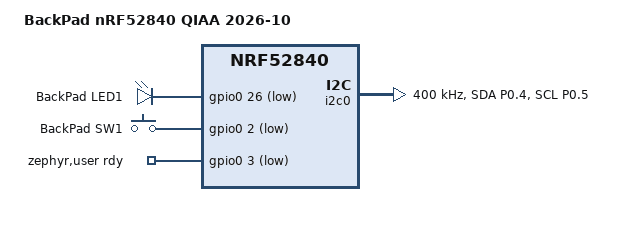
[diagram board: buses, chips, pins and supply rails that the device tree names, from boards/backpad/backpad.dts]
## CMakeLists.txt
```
cmake_minimum_required(VERSION 3.20.0)
list(APPEND BOARD_ROOT ${CMAKE_CURRENT_SOURCE_DIR})
find_package(Zephyr REQUIRED HINTS $ENV{ZEPHYR_BASE})
project(backpad_test LANGUAGES C)
# Vendor-generated settings are deliberately not redistributed.
if(NOT EXISTS "${BACKPAD_SENSOR_SETTINGS}")
  message(FATAL_ERROR "Set BACKPAD_SENSOR_SETTINGS to your authorized IQS9151 settings C file")
endif()
if(NOT EXISTS "${BACKPAD_GENERATED_INCLUDE}/build_id.h")
  message(FATAL_ERROR "Use tools/build_firmware.ps1 to generate the public-source build ID")
endif()
set(BP_SENSOR ${CMAKE_CURRENT_SOURCE_DIR}/../sensor9151)
target_sources(app PRIVATE src/main.c src/bp_status.c src/bp_sensor_service.c src/bp_touch_policy.c vendor/v5/src/bp_pointer.c vendor/v5/src/bp_hid.c vendor/v5/src/bp_channel.c
 ${BP_SENSOR}/src/bp_iqs9151.c ${BACKPAD_SENSOR_SETTINGS} ${BP_SENSOR}/src/bp_iqs9151_zephyr.c)
target_include_directories(app PRIVATE ${BACKPAD_GENERATED_INCLUDE} include vendor/v5/include ${BP_SENSOR}/include)
# BackPad V2 touchpad: 13 Rx columns x 12 Tx rows at 4.5 mm -> 54.0 x 49.5 mm between end electrode centres
# IQS9151 V2 pad. Secondary 20 %: bp_touch_policy only forwards contacts with area >= 4 and density >= 850,
# so the IQS550 50 % ghost floor would only drop real unequal-pressure fingers (18385/15 + 8000/8 = 44 %).
target_compile_definitions(app PRIVATE BP_PHYSICAL_X_UM=54000 BP_PHYSICAL_Y_UM=49500 BP_SECONDARY_RELATIVE_PERCENT=20)
```

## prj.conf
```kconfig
CONFIG_BT=y
CONFIG_BT_PERIPHERAL=y
CONFIG_BT_MAX_CONN=1
CONFIG_BT_MAX_PAIRED=2
CONFIG_BT_DEVICE_NAME="BackPad"
CONFIG_BT_DEVICE_APPEARANCE=962
CONFIG_BT_SMP=y
CONFIG_BT_BONDABLE=y
CONFIG_BT_SETTINGS=y
CONFIG_BT_GATT_AUTO_SEC_REQ=n
CONFIG_BT_AUTO_PHY_UPDATE=n
# Three HID notifications plus two ATT entries for control/service traffic.
CONFIG_BT_ATT_TX_COUNT=5
CONFIG_BT_GAP_PERIPHERAL_PREF_PARAMS=y
# 15 ms fixed (Apple accessory guideline: Interval Min == Interval Max == 15 ms is the allowed exception to
# Min + 15 ms <= Max). With 9..24 macOS chose 30 ms: ~30 cursor reports/s against ~150 sensor frames/s.
CONFIG_BT_PERIPHERAL_PREF_MIN_INT=12
CONFIG_BT_PERIPHERAL_PREF_MAX_INT=12
CONFIG_BT_PERIPHERAL_PREF_LATENCY=0
CONFIG_BT_PERIPHERAL_PREF_TIMEOUT=600
CONFIG_BT_GAP_AUTO_UPDATE_CONN_PARAMS=y
CONFIG_BT_HIDS=y
CONFIG_BT_HIDS_INPUT_REP_MAX=1
CONFIG_BT_HIDS_OUTPUT_REP_MAX=0
CONFIG_BT_HIDS_FEATURE_REP_MAX=0
CONFIG_BT_HIDS_ATTR_MAX=20
CONFIG_BT_HIDS_MAX_CLIENT_COUNT=1
CONFIG_BT_HIDS_DEFAULT_PERM_RW_ENCRYPT=y
CONFIG_BT_GATT_UUID16_POOL_SIZE=40
CONFIG_BT_GATT_CHRC_POOL_SIZE=20
CONFIG_BT_CONN_CTX=y
CONFIG_BT_TX_PROCESSOR_STACK_SIZE=1024
CONFIG_MAIN_STACK_SIZE=4096
CONFIG_SYSTEM_WORKQUEUE_STACK_SIZE=2048
CONFIG_BUILD_OUTPUT_HEX=y
CONFIG_BUILD_OUTPUT_BIN=y
CONFIG_ASSERT=y

CONFIG_SERIAL=n
CONFIG_CONSOLE=y
CONFIG_UART_CONSOLE=n
CONFIG_USE_SEGGER_RTT=y
CONFIG_RTT_CONSOLE=y
CONFIG_SEGGER_RTT_MODE_NO_BLOCK_SKIP=y
CONFIG_SEGGER_RTT_BUFFER_SIZE_UP=2048
CONFIG_PRINTK=y
CONFIG_I2C=y
CONFIG_CLOCK_CONTROL_NRF_K32SRC_RC=y
CONFIG_CLOCK_CONTROL_NRF_K32SRC_500PPM=y
CONFIG_CLOCK_CONTROL_NRF_K32SRC_RC_CALIBRATION=y
CONFIG_NRF_APPROTECT_USE_UICR=y
CONFIG_FLASH=y
CONFIG_LOG=n
CONFIG_I2C_NRFX_TRANSFER_TIMEOUT=100

# User-requested default radio TX power for advertising and connections.
CONFIG_BT_CTLR_TX_PWR_PLUS_8=y

# Explicit user-requested persistent bonds; only the last 32 KiB is writable NVS.
CONFIG_BT_PRIVACY=y
CONFIG_BT_KEYS_OVERWRITE_OLDEST=y
CONFIG_BT_KEYS_SAVE_AGING_COUNTER_ON_PAIRING=y
CONFIG_FLASH_MAP=y
CONFIG_FLASH_PAGE_LAYOUT=y
CONFIG_NVS=y
CONFIG_SETTINGS=y
CONFIG_SETTINGS_NVS=y
CONFIG_SETTINGS_NVS_SECTOR_COUNT=8
CONFIG_USE_DT_CODE_PARTITION=y
```

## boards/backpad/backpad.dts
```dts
/dts-v1/;
#include <nordic/nrf52840_qiaa.dtsi>
#include <zephyr/dt-bindings/gpio/gpio.h>
#include <zephyr/dt-bindings/pinctrl/nrf-pinctrl.h>
/ {
  model = "BackPad nRF52840 QIAA 2026-10";
  compatible = "backpad,nrf52840";
  chosen { zephyr,sram = &sram0; zephyr,flash = &flash0; zephyr,code-partition = &app_partition; };
  aliases { led0 = &led0; sw0 = &sw0; backpad-touch = &i2c0; };
  leds { compatible = "gpio-leds"; led0: led0 { gpios = <&gpio0 26 GPIO_ACTIVE_LOW>; label = "BackPad LED1"; }; };
  buttons { compatible = "gpio-keys"; sw0: sw0 { gpios = <&gpio0 2 (GPIO_PULL_UP | GPIO_ACTIVE_LOW)>; label = "BackPad SW1"; }; };
  zephyr,user { rdy-gpios = <&gpio0 3 GPIO_ACTIVE_LOW>; }; /* IQS9151 RDY: open-drain, active low, 4.7k pull-up on the touchpad */
};
&pinctrl {
  i2c0_default: i2c0_default { group1 { psels = <NRF_PSEL(TWIM_SDA, 0, 4)>, <NRF_PSEL(TWIM_SCL, 0, 5)>; bias-pull-up; }; };
  i2c0_sleep: i2c0_sleep { group1 { psels = <NRF_PSEL(TWIM_SDA, 0, 4)>, <NRF_PSEL(TWIM_SCL, 0, 5)>; low-power-enable; }; };
};
&gpio0 { status = "okay"; };
&gpio1 { status = "okay"; };
&gpiote { status = "okay"; };
&i2c0 { compatible = "nordic,nrf-twim"; status = "okay"; clock-frequency = <400000>; /* one 72-byte frame per 5 ms window needs fast mode */ pinctrl-0 = <&i2c0_default>; pinctrl-1 = <&i2c0_sleep>; pinctrl-names = "default", "sleep"; };
/* Base SoC defaults disable UART/USB/SPI/QSPI/NFC/ADC/PWM and use LDO.
 * Deliberately no uicr properties and no reset/NRST pin drive. NVS stores bonds only. */

&flash0 {
    partitions {
        compatible = "fixed-partitions";
        #address-cells = <1>; #size-cells = <1>;
        app_partition: partition@0 { label = "app"; reg = <0x0 0xf8000>; };
        storage_partition: partition@f8000 { label = "storage"; reg = <0xf8000 0x8000>; };
    };
};
```

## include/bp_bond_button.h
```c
#ifndef BP_BOND_BUTTON_H
#define BP_BOND_BUTTON_H
#include <stdbool.h>
#include <stdint.h>
/* Physical SW1 only. Clear on debounced RELEASE after six seconds; a short
 * tap, read error, boot with the button held, or bounce never clears bonds. */
typedef struct {
    bool raw, held, armed, initialized;
    uint64_t changed, since;
} bp_bond_button;
static inline bool bp_bond_button_poll(bp_bond_button *b, int value, uint64_t now) {
    if(value<0) { b->initialized=false; b->armed=false; return false; }
    bool raw=value>0;
    if(!b->initialized) {
        b->initialized=true; b->raw=raw; b->held=raw; b->changed=now;
        b->armed=!raw; return false;
    }
    if(raw!=b->raw) { b->raw=raw; b->changed=now; }
    if(raw==b->held || now-b->changed<30u) return false;
    b->held=raw;
    if(raw) { b->since=b->changed; return false; }
    bool clear=b->armed && b->changed-b->since>=6000u;
    b->armed=true;
    return clear;
}
#endif
```

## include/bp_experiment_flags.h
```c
#ifndef BP_EXPERIMENT_FLAGS_H
#define BP_EXPERIMENT_FLAGS_H
/* Independently disable one experiment and rebuild with app/tools/build.py. */
#define BP_EXP_TAP_GUARD 1
#define BP_EXP_SPIKE_GUARD 1
#define BP_EXP_STATIONARY_GUARD 1
#define BP_EXP_RELEASE_DEBOUNCE 1
#define BP_EXP_HOLD_DRAG 0
#define BP_EXP_SCROLL_ACCELERATION 0
#define BP_EXP_TAP_DRAG 1
#define BP_EXP_DRAG_LOCK 0
#define BP_EXP_SCROLL_LATCH 1
#define BP_EXP_CONTINUOUS_GAIN 0
#define BP_EXP_ZERO_REVERSE_DEADBAND 1
#define BP_EXP_FIXED_MOTION_GAIN 1
#define BP_EXP_ABSOLUTE_SPIKE 1
#define BP_EXP_PRECISE_STATIONARY 1
#define BP_EXP_CONFIRMED_SECONDARY 1
#define BP_EXP_MEDIAN_TAP 1
#define BP_EXP_IGNORE_WEAK_SECONDARY 1
#define BP_EXP_SHORT_TAP 0 /* withdrawn: retain 40ms */
#define BP_EXP_EXTENDED_DRAG_WINDOW 1
#define BP_EXP_SCROLL_PRECONFIRM_PAUSE 1
#define BP_EXP_SCROLL_REPORT_CAP 1
#define BP_EXP_SCROLL_TWO_MM 1
#define BP_EXP_MOTION_MEDIAN 1
#define BP_EXP_TRAVEL_STILL 1
#define BP_EXP_MICRO_RESUME 1
#define BP_EXP_SCROLL_REPAIR 1
#define BP_EXP_PAIR_PAUSE_30 1 /* landing only; paired with paused-tap travel validation */
#define BP_EXP_PURGE_MOTION_ON_ZERO 1
/* IQS9151: both gates use IQS550 strength units (300/220, 450/350). Off until the IQS9151 strength
 * scale is measured on the board; hover rejection is the chip threshold plus the runtime
 * admission floor in bp_touch_policy (backpad_iqs_params). */
#define BP_EXP_PRIMARY_CONFIDENCE 0
#ifndef BP_EXP_MOTION_CONFIDENCE
#define BP_EXP_MOTION_CONFIDENCE 0
#endif
#endif
```

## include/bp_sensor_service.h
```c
#ifndef BP_SENSOR_SERVICE_H
#define BP_SENSOR_SERVICE_H
#include "bp_pointer.h"
/* Sole sensor worker owns bus, ATI, diagnostics and raw captures. BLE/main
 * consume queued processed samples only; no sensor calls from callbacks. */
typedef struct {
 uint32_t frames,no_data,faults,init_calls,recoveries,calibrations;
 uint32_t state,raw_count,filtered_count,off_frames;
 int32_t last_error,bus_error;
} bp_sensor_health;
void bp_sensor_start(void);
bool bp_sensor_take(bp_sample *);
void bp_sensor_health_get(bp_sensor_health *);
#endif
```

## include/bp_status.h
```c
#ifndef BP_STATUS_H
#define BP_STATUS_H
#include <stdint.h>
#include <stdbool.h>
/* Read with a brief halted snapshot, or require equal even snapshot_seq before/after.
 * All values are local observations, never proof of host delivery. */
typedef struct {
 uint32_t magic, version, snapshot_seq, uptime_ms, phase;
 uint32_t device_id[2], reset_reason;
 int32_t last_error;
 uint32_t epoch, connected, encrypted, subscribed, report_mode, suspended;
 uint32_t sensor_frames, sensor_no_data, sensor_faults, sensor_session, sensor_sequence;
 uint32_t sensor_count; int32_t sensor_x, sensor_y;
 uint32_t pointer_mode, tx_accepted, tx_completed, tx_errors, cancellations;
 uint32_t sensor_init_calls;
 uint32_t hfclkstat, lfclkstat, dcdcen, dcdcen0;
 int32_t bt_disable_error;
} bp_test_status;
extern volatile bp_test_status backpad_status;
/* Single main-thread publisher. Only bounded memory copy is inside the seqlock;
 * no waits, peripheral access, or sensor/Bluetooth operations occur while odd. */
#define BP_STATUS_PERIOD_MS 100u
bool bp_status_publish_due(volatile bp_test_status *published,
                           const bp_test_status *working, uint64_t now,
                           uint64_t *next_due, bool force);
/* phase: 1 boot, 2 sensor ready, 3 advertising, 4 connected, 5 HID ready, 255 halted */
#endif
```

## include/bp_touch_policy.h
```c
#ifndef BP_TOUCH_POLICY_H
#define BP_TOUCH_POLICY_H
#include "bp_iqs9151.h"
#include "bp_pointer.h"
/* IQS9151 frame -> gesture-core sample. The chip already tracks fingers (slot = identity), applies
 * its own set/clear touch thresholds and reports per-finger strength and area. This layer adds a
 * runtime-tunable admission gate (enter, then held down to exit like a Schmitt trigger) and converts
 * coordinates to the core's 0..BP_COORD_MAX space.
 * Hover gate = density, strength / area: the mean delta over the touched channels. Measured on board 1
 * under 3 mm acrylic + glass (target 600): hover at 5 mm <= 650, hover at 2 mm <= 738 (area up to 10,
 * strength up to 7379), light touch 1000..1156 (8000..9250 / 8), normal press 1214..1313. Strength
 * or area alone cannot separate 2 mm hover from a light touch.
 * A contact that falls below the exit floor for BP_TOUCH_RELEASE_FRAMES frames is RELEASED (a lift),
 * not suppressed: every real lift passes through the hover range before the chip lets go, and a
 * suppressed frame would cancel the tap (bp_pointer primary_absent). Re-admission starts a new
 * lifetime, so the core never stitches the two touches. */
#define BP_TOUCH_MAX_CONTACTS 5u
#define BP_SENSOR_STALL_MS 1000u
#define BP_TOUCH_RELEASE_FRAMES 5u      /* v0.14 (was 3): an 8 s slow stroke on v0.13 split into 12 lifetimes (chip
                                         * dropouts plus light-slide density dips), each restarting the core's landing
                                         * and tap candidate: stick-slip, and 72 ms fragments became clicks */
/* Web-page runs on v0.6 (board 1, 12x10 mapping, strongest finger, area >= 4): hover at 2 mm up to 682
 * with area 10..13, touching while sliding 5th percentile 961..1028, held press >= 1143. At 650/480 a
 * 2 mm hover moved the cursor; at 850/650 hover 5 mm and 2 mm gave 0 motion and 0 clicks while light
 * and normal strokes moved normally. Hover blips of 1..2 channels reach 700..1089 (density = one
 * channel's delta), so a new contact also needs an area of 4 or more. */
/* v0.19: an admitted contact this large is a pressed flat finger (hover never exceeded area 15 in any recorded
 * hover test); it stays down while its density is >= BP_TOUCH_BIG_EXIT_DENSITY. Real circles drawn on board 1
 * (00:27): area 40..57 at density 530..700, i.e. at the 520 exit gate. */
#define BP_TOUCH_BIG_AREA 20u
#define BP_TOUCH_BIG_EXIT_DENSITY 400u
/* v0.19: admitted contacts are matched to the chip's reported contacts by position every frame (chip slot numbers
 * are not trusted): a match must lie within this distance of the contact's last position (chip counts). */
#define BP_TOUCH_HANDOVER_COUNTS 460   /* ~8 mm at 17.6 um/count */
/* A new contact this close to an admitted one must be seen in BP_TOUCH_SPLIT_FRAMES consecutive frames before it
 * is admitted (board 1 circles at 00:27: a large fast finger threw a one-frame blob 15 mm away, which became a
 * second finger and latched the core into scroll until lift). */
#define BP_TOUCH_SPLIT_COUNTS 1140     /* ~20 mm */
#define BP_TOUCH_SPLIT_FRAMES 3u
/* v0.20 electrode-gap handling. Board 1 runs with two Tx rows removed from the mapping (a 9 mm hole in the pad centre
 * and one at the edge); over such a gap the chip's centroid flips to either side of the hole every frame (00:26 light
 * taps in the centre: chip y 17 <-> 24 mm, i.e. physical 26 <-> 36 mm), and One Euro, just initialised, lets a third of
 * the jump through, which breaks the 1.5 mm tap slop. Inside a gap zone (within one line pitch of a removed interior
 * line, from geo->row_phys / col_phys) the policy: feeds the mean of the last two raw frames, runs One Euro at its
 * minimum cutoff (no speed opening), and admits one frame later so the core's landing point is the mean. */
#define BP_TOUCH_GAP_ZONE_Q8 384u       /* 1.5 pitches each side of the gap centre, in 1/256 pitch */
#ifndef BP_TOUCH_GAP_BETA_Q8
#define BP_TOUCH_GAP_BETA_Q8 128u       /* One Euro speed coefficient scale inside a gap zone (256 = unchanged; v0.20 sweep: 256→jitter 160, 128→118, 64→90 but −21% fast-stroke path in the zone, 0→28 but −78%) */
#endif
/* Generic alternation latch: three consecutive raw steps >= BP_TOUCH_ZIGZAG_MM, each reversing direction, cannot be a
 * finger; the fed position is then the 2-frame mean for BP_TOUCH_ZIGZAG_HOLD_MS. An isolated out-and-back spike (two
 * steps) does not latch: the core's spike guard already drops those, and halving them would let them through. */
#ifndef BP_TOUCH_PREDICT
#define BP_TOUCH_PREDICT 1          /* association prefers the candidate ahead along consistent motion (0: nearest only) */
#endif
#ifndef BP_TOUCH_HOLDABLE_MATCH
#define BP_TOUCH_HOLDABLE_MATCH 1   /* only contacts satisfying the hold gate may carry an admitted lifetime */
#endif
#ifndef BP_TOUCH_EURO_SHARED
#define BP_TOUCH_EURO_SHARED 1      /* One Euro cutoff from the vector speed (0: per axis) */
#endif
/* v0.20 lift tail: a STOPPED finger whose strength falls below BP_TOUCH_LIFT_PCT of its recent level (EMA over ~50 ms)
 * is leaving; the contact peels off one side first and the centroid drifts 0.5..1.5 mm in the lift direction during
 * the last 30..60 ms (user: "lifting at an angle moves the cursor, a Magic Trackpad does not"). The position is held
 * until the contact ends, the strength recovers (re-press), or BP_TOUCH_LIFT_HOLD_MS pass (a deliberate lightening).
 * A moving finger is never held (that froze a re-landed stroke in v0.19). */
#define BP_TOUCH_LIFT_PCT 80u
#define BP_TOUCH_LIFT_RECOVER_PCT 92u
#define BP_TOUCH_LIFT_HOLD_MS 120u
#define BP_TOUCH_ZIGZAG_MM 1.5f
#define BP_TOUCH_ZIGZAG_HOLD_MS 120u
#ifndef BP_TOUCH_ENTER_DENSITY_OVERRIDE   /* -D overrides: replay captures recorded at another ATI target with their own gates */
#define BP_TOUCH_ENTER_DENSITY 400u   /* v0.20.3 (v0.20.2 550, was 850 at ATI 600): at ATI 250 66 of 95 landings start below 550 and a light circle sits
                                         * at 350..550 for 45 % of frames, so 550 delayed the start; the chip reports no hover at 2 mm (0 of 81 samples) */
#else
#define BP_TOUCH_ENTER_DENSITY BP_TOUCH_ENTER_DENSITY_OVERRIDE
#endif
#ifndef BP_TOUCH_EXIT_DENSITY_OVERRIDE
#define BP_TOUCH_EXIT_DENSITY 260u   /* v0.20.3 (v0.20.2 350, was 520): 8.0 % of mid-contact samples dipped below 350 (felt as dropouts), 3.2 % below 260 */
#else
#define BP_TOUCH_EXIT_DENSITY BP_TOUCH_EXIT_DENSITY_OVERRIDE
#endif
#ifndef BP_TOUCH_SECOND_ENTER_DENSITY
#define BP_TOUCH_SECOND_ENTER_DENSITY 250u   /* second-finger gate (bp_touch_policy.c); 0 disables. v0.20.4: 300 -> 250, the scroll
                                               * simulation 131 -> 138/240 and pointer leak at 24 mm 25..32 -> 8..11 HID per push */
#endif
#define BP_TOUCH_SECOND_MIN_COUNTS 570   /* ~10 mm */
#define BP_TOUCH_SECOND_MAX_COUNTS 2270  /* ~40 mm */
#define BP_TOUCH_ENTER_AREA 4u
#define BP_TOUCH_EXIT_AREA 3u
#define BP_TOUCH_FLIP_X 1u   /* sensor X mirror; with the production rotation 270 this is the phone-back mount */
#define BP_TOUCH_FLIP_Y 2u
/* Runtime parameters, written by the host through RAM (backpad_iqs_params) and applied when seq
 * changes. Defaults: no strength/area floor, density 850/700. strength_scale_q8 maps IQS9151 strength
 * into the gesture core's legacy strength units (its secondary-finger floor is 80). */
typedef struct {
    uint32_t seq;
    uint16_t enter_strength, exit_strength;
    uint16_t enter_area, exit_area;
    uint16_t strength_scale_q8;
    uint16_t enter_density, exit_density;  /* strength per area unit; 0 = off; area 0 counts as 0 */
    uint16_t orient;                       /* BP_TOUCH_FLIP_X / BP_TOUCH_FLIP_Y, applied after geometry */
} bp_touch_params;
#define BP_TOUCH_PARAMS_DEFAULT {0u, 0u, 0u, BP_TOUCH_ENTER_AREA, BP_TOUCH_EXIT_AREA, 256u, \
                                 BP_TOUCH_ENTER_DENSITY, BP_TOUCH_EXIT_DENSITY, 0u}
/* Electrode geometry in use: chip coordinates span (n-1) pitches of the lines in use; phys[i] is the
 * settings-table index of line i, so lines taken out of the mapping get their physical spacing back. */
typedef struct {
    uint8_t n_cols, n_rows, orig_cols, orig_rows;
    const uint8_t *col_phys, *row_phys;
} bp_touch_geometry;
/* Position conditioning, chosen by replaying full-rate raw captures from board 1 (chip IIR off; held
 * finger: y std 0.5 mm, frame-to-frame p90 1.2..1.4 mm; taps: centroid moves 1..2 mm while the strength
 * is still rising and 2..5 mm once it falls; single-frame dropouts while sliding):
 * - landing settle: a new contact is admitted once its strength stops rising by > settle_pct per frame
 *   (at most BP_TOUCH_SETTLE_MAX frames), so the tap's down position is the settled one;
 * - lift hold: within tap_window_ms of admission, a frame below lift_pct of the contact's peak strength
 *   keeps the last trusted position (the finger is leaving);
 * - dropout: an admitted contact the chip misses for < BP_TOUCH_RELEASE_FRAMES frames keeps its
 *   lifetime and position (a new lifetime would restart the core's landing guard mid-stroke);
 * - One Euro filter (fmin, beta per mm/s, derivative cutoff dcut) then a string deadband of string_um.
 * End-to-end replay of those captures through this policy and the production core (test 13): 9 real taps
 * 0 clicks without conditioning -> 9 with it (tap_ms 350), held-finger cursor travel 449 -> ~50 HID over
 * 3 x 1.6 s; a 0.25 mm string left 361. Synthetic 150 mm/s stroke on real noise: ~1.4 mm behind after
 * 120 ms. All runtime-tunable (seq last). */
typedef struct {
    uint32_t seq;
    uint16_t fmin_chz, beta_milli, dcut_chz, string_um;  /* 1.00 Hz, 0.100 Hz per mm/s, 1.00 Hz, HOLD radius 600 um */
    uint16_t settle_pct, lift_pct, tap_window_ms, flags;  /* 15 %, 85 %, 250 ms, BP_TF_* */
    uint16_t dwell_ms, stop_um;   /* 60 ms: HOLD ends only after the position stays outside it this long;
                                   * 400 um: TRACK returns to HOLD once the position stays within it (0 = BP_TOUCH_STOP_UM).
                                   * Replay sweep (BP_SWEEP3): clean 1 mm forward/back 39/-38 HID, 9/9 raw taps, held
                                   * back-and-forth 84 (538 unconditioned); a 2.5 mm flick no longer clicks (it is lost).
                                   * HOLD also ends at once beyond twice its radius: noise excursions are short. */
} bp_touch_filter_params;
#define BP_TF_EURO 1u
#define BP_TF_STRING 2u
#define BP_TF_SETTLE 4u
#define BP_TF_LIFT 8u
#define BP_TF_HOLDTRACK 16u  /* hold/track instead of the continuous trailing string (v0.13; off: stick-slip on slow strokes) */
#define BP_TOUCH_FILTER_DEFAULT {0u, 100u, 100u, 100u, 400u, 15u, 85u, 250u, BP_TF_EURO | BP_TF_STRING | BP_TF_SETTLE | BP_TF_LIFT, 0u, BP_TOUCH_MOVING_STRING_UM}
#define BP_TOUCH_SETTLE_MAX 3u
/* Hold / track (replaces a trailing string, which always stopped one string length short and needed two to
 * reverse: Codex replay 1 mm forward 23 HID, 1 mm back 6). HOLD: the output stays put while the filtered
 * position is within string_um of it. Leaving it for dwell_ms (or by twice string_um at once) switches to
 * TRACK, which outputs the filtered position itself (the whole movement, no trailing gap, reversals at once).
 * TRACK returns to HOLD once the position has stayed within BP_TOUCH_STOP_UM for BP_TOUCH_STOP_MS. */
#define BP_TOUCH_STOP_UM 150u
#define BP_TOUCH_STOP_MS 80u
/* TRACK trails the position by at most this much (absorbs noise while moving); entering HOLD closes the gap. */
#define BP_TOUCH_TRACK_STRING_UM 150u
/* Continuous string (default): string_um while the finger has been still for BP_TOUCH_REST_MS, else this much,
 * so a reversal mid-adjustment costs 0.24 mm instead of 0.8 mm (Codex: 0.5 mm reversal after a pause gave 0). */
#define BP_TOUCH_MOVING_STRING_UM 120u
/* Established single-finger corrections, not landing/tap or paired scrolling. */
#define BP_TOUCH_FINE_STRING_UM 6u
#define BP_TOUCH_FINE_INTENT_MM 0.04f
/* Cap of the displacement repaid when movement evidence ends a tap candidate. */
#define BP_TOUCH_REPAY_CAP_MM 1.0f   /* v0.18: emitted in one report by the core, so it no longer trails */
#define BP_TOUCH_REST_MS 600u
#ifndef BP_TOUCH_MOVING_NET_MM
#define BP_TOUCH_MOVING_NET_MM 0.4f   /* net filtered travel over ~400 ms that counts as "moving" */
#endif
#ifndef BP_TOUCH_JUMP_MM
#define BP_TOUCH_JUMP_MM 4.0f   /* v0.20.4: a lifetime's raw centroid stepping further than this in one frame is the chip merging or
                                 * splitting two fingers (or swapping slots), not motion (~2 mm per frame at 300 mm/s): the step is
                                 * carried as an input offset, so the output neither jumps nor glides through it */
#endif
#ifndef BP_TOUCH_MOVING_SHORT_MM
#define BP_TOUCH_MOVING_SHORT_MM 0.6f /* v0.20.4: ... or over ~100..250 ms (a stroke that just started) */
#endif
/* One finished contact lifetime (admission to release), for tuning taps on the board. Positions in
 * core coordinates (0..BP_COORD_MAX over the sensor, before rotation). */
typedef struct {
    uint32_t end_ms;
    uint16_t dur_ms, frames;
    int16_t dx, dy;          /* last trusted position - admission position */
    uint16_t max_dev;        /* largest distance from the admission position (max of |dx|,|dy|) */
    uint16_t peak_density, start_density, weak_end; /* weak_end: 1 released by the gate, 0 chip let go */
} bp_touch_log_entry;
#define BP_TOUCH_LOG_N 32u
typedef struct { uint32_t seq, count; bp_touch_log_entry e[BP_TOUCH_LOG_N]; } bp_touch_log;
/* Movement-intent observer (ported from Codex's micro-intent candidate, 2026-10-24 22:20): a separate,
 * bounded evidence track decides "the finger is moving" for a young single contact, so a short flick leaves
 * the tap candidate instead of clicking. It never feeds coordinates to HID. */
#ifndef BP_TOUCH_MICRO_INTENT
#define BP_TOUCH_MICRO_INTENT 1
#endif
#define BP_TOUCH_INTENT_POINTS 64u   /* >= 400 ms at the chip's ~6.6 ms frames */
#ifndef BP_TOUCH_INTENT_MM
#define BP_TOUCH_INTENT_MM 0.45f      /* fitted travel that evidences a deliberate stroke */
#endif
typedef struct { uint64_t ms; float x, y, ox, oy; uint16_t strength, area; } bp_touch_intent_point;   /* ox/oy: output position then */
typedef struct {
    bp_touch_intent_point p[BP_TOUCH_INTENT_POINTS];
    unsigned n;
    uint64_t good_ms;
    float good_x, good_y;
    bool confirmed, active;
    bool pressure_safe; /* current strict fit, not a cached landing tail */
} bp_touch_intent;
/* Independent of held/filter output: a frozen centroid cannot prove that it is
 * moving. This bounded raw trajectory only vetoes lift-freezing; it never
 * requests a click, drag, or movement-intent catch-up. */
#define BP_LIFT_MOTION_POINTS 16u
typedef struct { uint64_t ms; int32_t x, y; uint16_t strength; } bp_lift_motion_point;
typedef struct { bp_lift_motion_point p[BP_LIFT_MOTION_POINTS]; unsigned n; } bp_lift_motion;
/* A separate history for the one raw contact spanning a weak landing. */
#define BP_LANDING_POINTS 12u
typedef struct { uint64_t ms; uint16_t x, y, strength, area; } bp_landing_point;
typedef struct {
    bp_landing_point p[BP_LANDING_POINTS];
    unsigned n, slot;
    uint64_t first_weak_ms;
    bool passed_entry, sustained_weak;
} bp_landing_motion;
typedef struct {
    uint64_t births[BP_IQS9151_MAX_FINGERS], next_birth;
    bool present[BP_IQS9151_MAX_FINGERS], admitted[BP_IQS9151_MAX_FINGERS];
    uint8_t weak_frames[BP_IQS9151_MAX_FINGERS];
    /* last position of the slot at or above the exit floor: a lifting finger's centroid drifts while
     * it weakens, so weak frames report this instead (taps stay inside the tap slop, lifts don't jump) */
    int32_t held_x[BP_IQS9151_MAX_FINGERS], held_y[BP_IQS9151_MAX_FINGERS];
    int32_t start_x[BP_IQS9151_MAX_FINGERS], start_y[BP_IQS9151_MAX_FINGERS];
    uint64_t start_ms[BP_IQS9151_MAX_FINGERS], last_ms[BP_IQS9151_MAX_FINGERS];
    uint16_t frames[BP_IQS9151_MAX_FINGERS], max_dev[BP_IQS9151_MAX_FINGERS];
    uint16_t peak_density[BP_IQS9151_MAX_FINGERS], start_density[BP_IQS9151_MAX_FINGERS];
    bp_touch_log *log;        /* optional, owned by the caller; survives bp_touch_filter_reset */
    const bp_touch_filter_params *fp; /* optional, owned by the caller (NULL = defaults); survives reset */
    uint16_t prev_strength[BP_IQS9151_MAX_FINGERS], peak_strength[BP_IQS9151_MAX_FINGERS], last_strength[BP_IQS9151_MAX_FINGERS];
    uint8_t settle[BP_IQS9151_MAX_FINGERS];
    bool euro_init[BP_IQS9151_MAX_FINGERS];
    float ex[BP_IQS9151_MAX_FINGERS], ey[BP_IQS9151_MAX_FINGERS];   /* One Euro output, mm */
    float edx[BP_IQS9151_MAX_FINGERS], edy[BP_IQS9151_MAX_FINGERS]; /* filtered speed, mm/s */
    float ax[BP_IQS9151_MAX_FINGERS], ay[BP_IQS9151_MAX_FINGERS];   /* string anchor, mm */
    uint64_t trusted_ms[BP_IQS9151_MAX_FINGERS], outside_ms[BP_IQS9151_MAX_FINGERS], moved_ms[BP_IQS9151_MAX_FINGERS];
    bool tracking[BP_IQS9151_MAX_FINGERS];
    bp_touch_intent intent[BP_IQS9151_MAX_FINGERS];
    /* Short relanding after proven movement still needs fresh coherent evidence;
     * it must not re-prove the full 0.45mm stroke. No context survives taps/pairs. */
    uint64_t recent_motion_ms;
    bool resume_hint[BP_IQS9151_MAX_FINGERS];
    bp_lift_motion lift_motion[BP_IQS9151_MAX_FINGERS];
    bool isolated_since_release; /* no raw pair during the current touch */
    bp_landing_motion landing;
    bool area3_isolated, area3_motion[BP_IQS9151_MAX_FINGERS];
    uint8_t intent_streak[BP_IQS9151_MAX_FINGERS];
    uint16_t raw_x[BP_IQS9151_MAX_FINGERS], raw_y[BP_IQS9151_MAX_FINGERS];   /* last chip coordinates per slot */
    int16_t vel_x[BP_IQS9151_MAX_FINGERS], vel_y[BP_IQS9151_MAX_FINGERS];     /* last chip step per frame (v0.20: association predicts) */
    int16_t pvel_x[BP_IQS9151_MAX_FINGERS], pvel_y[BP_IQS9151_MAX_FINGERS];   /* the step before: prediction only when both agree */
    float hx[BP_IQS9151_MAX_FINGERS][5], hy[BP_IQS9151_MAX_FINGERS][5]; uint64_t hms[BP_IQS9151_MAX_FINGERS][5]; uint8_t hn[BP_IQS9151_MAX_FINGERS];   /* filtered position every ~100 ms */
    uint32_t slot_swaps, slot_handovers;
    uint8_t hwmap[BP_IQS9151_MAX_FINGERS];   /* chip slot -> lifetime slot for contacts not yet admitted */
    bool hwmap_set;
    uint8_t life_hw[BP_IQS9151_MAX_FINGERS];  /* chip slot an admitted lifetime was last matched to */
    uint8_t near_frames[BP_IQS9151_MAX_FINGERS];
    /* zig-zag suppressor (v0.20): last two raw positions (mm) and the time of the last detected alternation */
    float zx[BP_IQS9151_MAX_FINGERS][3], zy[BP_IQS9151_MAX_FINGERS][3]; uint8_t zn[BP_IQS9151_MAX_FINGERS]; uint64_t zz_ms[BP_IQS9151_MAX_FINGERS];
    uint32_t zigzags, gap_frames; bool gap_now;
    bool moving_now[BP_IQS9151_MAX_FINGERS];           /* condition(): the string is in its moving state */
    bool pair_seen[BP_IQS9151_MAX_FINGERS]; /* keep single-stroke recovery out of scrolling lifetimes */
    uint16_t recent_strength[BP_IQS9151_MAX_FINGERS];  /* EMA of the strength over trusted frames (~50 ms) */
    uint64_t lift_hold_ms[BP_IQS9151_MAX_FINGERS];     /* 0: not holding; else when the lift hold started */
    uint32_t lift_holds;
    uint16_t gap_x[BP_IQS9151_MAX_FINGERS], gap_y[BP_IQS9151_MAX_FINGERS]; bool gap_have[BP_IQS9151_MAX_FINGERS];   /* previous valid frame's raw centroid */
    uint64_t gap_defer_ms[BP_IQS9151_MAX_FINGERS];   /* time of the frame whose admission was deferred over a gap (0: none) */
    float sx[BP_IQS9151_MAX_FINGERS], sy[BP_IQS9151_MAX_FINGERS];   /* TRACK: where the position last settled */
    uint32_t session;
    uint32_t admitted_frames, suppressed_frames;
    /* v0.20.4 jump absorption (BP_TOUCH_JUMP_MM): input offset carried by each lifetime after a one-frame jump */
    float jox[BP_IQS9151_MAX_FINGERS], joy[BP_IQS9151_MAX_FINGERS];
    uint32_t jumps;
} bp_touch_filter_state;
void bp_touch_filter_reset(bp_touch_filter_state *);
/* Fills *out (always kind BP_DATA; fingers below the gate are left out, i.e. not touching).
 * x_res/y_res: chip resolution. geo NULL: uniform lines over the whole resolution. */
void bp_touch_convert(bp_touch_filter_state *, const bp_touch_params *, const bp_iqs9151_frame *,
                      uint16_t x_res, uint16_t y_res, const bp_touch_geometry *geo, uint32_t session,
                      uint32_t sequence, uint64_t time_ms, bp_sample *out);
/* One axis: chip coordinate -> core coordinate 0..BP_COORD_MAX over the settings-table lines. */
int32_t bp_touch_axis(uint16_t v, uint16_t res, uint8_t n, uint8_t orig, const uint8_t *phys);
#endif
```

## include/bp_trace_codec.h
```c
#ifndef BP_TRACE_CODEC_H
#define BP_TRACE_CODEC_H
#include <stdint.h>
#include <stddef.h>
#include <stdbool.h>
#define BP_TRACE_WORDS 18u
#define BP_TRACE_BYTES 160000u
typedef struct { uint16_t previous[BP_TRACE_WORDS]; uint32_t used; } bp_trace_encoder;
static inline void bp_trace_u32(volatile uint8_t *p,uint32_t v) {
    for(unsigned j=0;j<4u;j++)p[j]=(uint8_t)(v>>(8u*j));
}
/* Lossless word-delta record: ms32,sequence32,changed_bitmap32, then LE16
 * values in bit order. Every sensor frame is kept, including no-touch frames.
 * Capacity failure changes neither encoder nor output; callers must fail the
 * capture rather than claim a complete trace. Session is fixed in header. */
static inline bool bp_trace_append(bp_trace_encoder *e,volatile uint8_t *out,size_t cap,
                                   uint32_t ms,uint32_t seq,const uint8_t xy[36]) {
    uint32_t mask=0;size_t need=12u;uint16_t words[BP_TRACE_WORDS];
    for(unsigned j=0;j<BP_TRACE_WORDS;j++) {
        words[j]=(uint16_t)((uint16_t)xy[2u*j]|((uint16_t)xy[2u*j+1u]<<8));
        if(words[j]!=e->previous[j]){mask|=1u<<j;need+=2u;}
    }
    if(e->used>cap || need>cap-e->used)return false;
    volatile uint8_t *p=out+e->used;
    bp_trace_u32(p,ms);bp_trace_u32(p+4,seq);bp_trace_u32(p+8,mask);
    size_t pos=12u;
    for(unsigned j=0;j<BP_TRACE_WORDS;j++)if(mask&(1u<<j)) {
        p[pos++]=(uint8_t)words[j];p[pos++]=(uint8_t)(words[j]>>8);
    }
    for(unsigned j=0;j<BP_TRACE_WORDS;j++)e->previous[j]=words[j];
    e->used+=(uint32_t)need;return true;
}
#endif
```

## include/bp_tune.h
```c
#ifndef BP_TUNE_H
#define BP_TUNE_H
#include <stdint.h>
#include "bp_touch_policy.h"
#include "bp_trace_codec.h"
#define BP_TUNE_MAX_FRAMES 1600u
/* Host (J-Link) mailbox. Host writes op,arg,expected (and backpad_iqs_write for op9) first, then
 * a NEW nonzero request last. Firmware acknowledges only after completion; a repeated request is
 * ignored. A nonzero result is never success.
 *   op1  capture arg (1..BP_TUNE_MAX_FRAMES) frames into backpad_tune_capture
 *   op2  wait for a zero-contact frame, then capture arg frames starting at the next raw contact;
 *        arming timeout30s, recording timeout10s. State1/count0 means armed, not complete.
 *   op3  full chip re-initialization (settings + ATI)
 *   op4  read IQS9151 memory into backpad_iqs_read (counts/deltas/references/ATI compensation)
 *   op5  trackpad re-ATI; refused (-EBUSY) unless no finger has been reported for 300 ms
 *   op6  lossless full-rate timed raw trace, arg=duration_ms(1000..40000).
 *        Version3; reserved[0]=payload bytes,reserved[1]=duration,reserved[2]=session.
 *   op9  write backpad_iqs_write.len (1..16) bytes at backpad_iqs_write.reg with readback;
 *        only whitelisted tuning registers (thresholds, filters, orientation, ATI target, rate)
 * Touch-admission parameters need no op: write backpad_iqs_params fields, then increment its seq. */
typedef struct {
 uint32_t request, op, arg, expected;
 uint32_t ack; int32_t result;
 uint32_t state, reserved;
} bp_tune_control;
/* IQS9151 capture record (version 2). xy[36] packs the 0x1014 block:
 *   xy[0..3]   = block[8..11]   single/two-finger gesture flags (0x101C..0x101F)
 *   xy[4..31]  = block[12..39]  info flags, trackpad flags, fingers 1..3 (x,y,strength,area LE16)
 *   xy[32..35] = block[0..3]    relative X/Y (0x1014..0x1017) */
typedef struct { uint32_t ms, sequence, session; uint8_t xy[36]; } bp_tune_record;
typedef struct {
 uint32_t magic, version, snapshot_seq, request, state, count, target;
 uint32_t start_ms, end_ms; int32_t error;
 uint32_t multiplier, shift, reserved[4];
 /* config: product,major,minor (LE16 x3), tp_settings, x_res, y_res (LE16), ati_error, ati_ms (LE32),
  * then the 25-byte RxTx mapping as read back, then dead-channel count, handling bits (bit0 disabled,
  * bit1 lines removed), removed Tx rows, removed Rx columns (bytes 41..44). */
 uint8_t config[64];
 union {
  bp_tune_record records[BP_TUNE_MAX_FRAMES];
  uint8_t compressed[BP_TRACE_BYTES];
 };
} bp_tune_capture;
#define BP_TUNE_CAPTURE_VERSION_IQS9151 2u
typedef struct { uint16_t reg; uint8_t len, reserved; uint8_t data[16]; } bp_iqs_write;
/* op4: read len (1..320) bytes of IQS9151 memory at reg (any address; reads are side-effect free),
 * e.g. 0xA000 counts, 0xB000 references, 0xC000 deltas, 0xD000 ATI compensation (156 x LE16). */
typedef struct { uint16_t reg, len; int32_t result; uint32_t done_ms; uint8_t data[320]; } bp_iqs_read;
/* Published every frame under a sequence lock (odd = being written). */
typedef struct {
 uint32_t seq;
 uint8_t step, ati_error, tp_settings, fingers;
 int32_t last_error;
 uint16_t product, major, minor, x_res, y_res, info, tp;
 uint8_t dead_channels, dead_handled; /* channels at full scale after start-up ATI; bit0 disabled, bit1 lines removed */
 uint32_t session, sequence, frames, missed_windows, bad_frames, chip_resets, init_calls, force_requests;
 uint32_t ati_ms, admitted_frames, suppressed_frames, uptime_ms;
 struct { uint16_t x, y, strength, area; } finger[3];
 uint8_t block[72];
} bp_iqs_diag;
_Static_assert(sizeof(bp_tune_record)==48,"record ABI");
_Static_assert(sizeof(bp_tune_capture)==128u+BP_TRACE_BYTES,"capture ABI");
_Static_assert(sizeof(bp_tune_control)==32,"control ABI");
_Static_assert(sizeof(bp_iqs_write)==20,"write ABI");
_Static_assert(sizeof(bp_iqs_read)==332,"read ABI");
_Static_assert(sizeof(bp_iqs_diag)==172,"diag ABI");
_Static_assert(sizeof(bp_touch_params)==20,"params ABI");
_Static_assert(sizeof(bp_touch_filter_params)==24,"filter params ABI");
#endif
```

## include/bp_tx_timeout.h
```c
#ifndef BP_TX_TIMEOUT_H
#define BP_TX_TIMEOUT_H
#include <stdbool.h>
#include <stdint.h>

/* Apply to the oldest outstanding channel token, never the most recent send.
 * A submit may record a timestamp later than the caller's loop timestamp.
 * Never interpret unsigned subtraction underflow as elapsed time. */
static inline bool bp_tx_expired(bool inflight, uint64_t now, uint64_t since) {
    return inflight && now >= since && now - since >= 1000u;
}
#endif
```

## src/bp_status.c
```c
#include "bp_status.h"
#include <stdatomic.h>
bool bp_status_publish_due(volatile bp_test_status *published,
                           const bp_test_status *working, uint64_t now,
                           uint64_t *next_due, bool force) {
    if(!force && now<*next_due) return false;
    uint32_t next=(published->snapshot_seq & ~1u)+2u;
    if(!next) next=2u;
    bp_test_status snapshot=*working;
    snapshot.snapshot_seq=next|1u;
    published->snapshot_seq=next|1u;
    atomic_thread_fence(memory_order_seq_cst);
    *published=snapshot;
    atomic_thread_fence(memory_order_seq_cst);
    published->snapshot_seq=next;
    *next_due=now+BP_STATUS_PERIOD_MS;
    return true;
}
```
